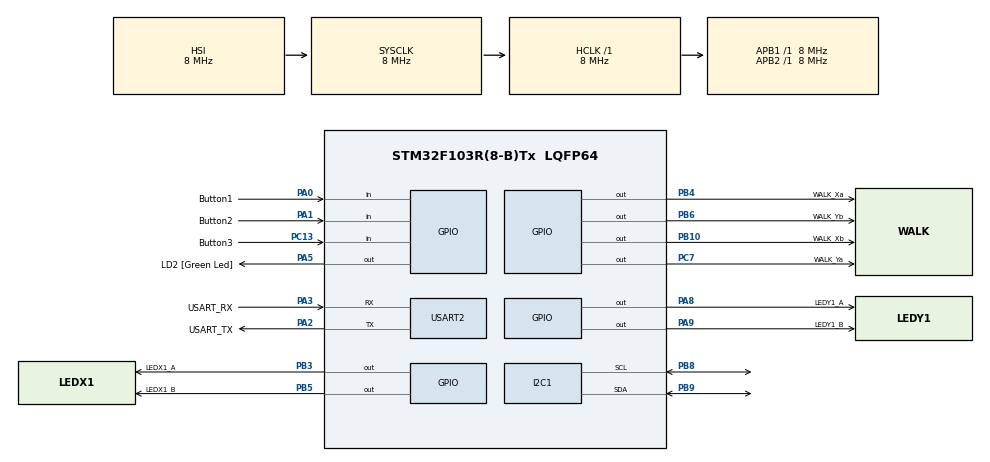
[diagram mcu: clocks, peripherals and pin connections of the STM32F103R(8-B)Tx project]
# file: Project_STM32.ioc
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Mcu.Family=STM32F1
Mcu.Name=STM32F103R(8-B)Tx
Mcu.Package=LQFP64
NVIC.PriorityGroup=NVIC_PRIORITYGROUP_4
NVIC.TIM2_IRQn=true\:0\:0\:false\:false\:true\:true\:true
PA0-WKUP.GPIO_Label=Button1
PA0-WKUP.GPIO_PuPd=GPIO_PULLUP
PA0-WKUP.Signal=GPIO_Input
PA1.GPIO_Label=Button2
PA1.GPIO_PuPd=GPIO_PULLUP
PA1.Signal=GPIO_Input
PA13.GPIO_Label=TMS
PA13.Mode=Serial_Wire
PA13.Signal=SYS_JTMS-SWDIO
PA14.GPIO_Label=TCK
PA14.Mode=Serial_Wire
PA14.Signal=SYS_JTCK-SWCLK
PA2.GPIO_Label=USART_TX
PA2.GPIO_Mode=GPIO_MODE_AF_PP
PA2.GPIO_PuPd=GPIO_NOPULL
PA2.GPIO_Speed=GPIO_SPEED_FREQ_LOW
PA2.Mode=Asynchronous
PA2.Signal=USART2_TX
PA3.GPIO_Label=USART_RX
PA3.GPIO_Mode=GPIO_MODE_AF_PP
PA3.GPIO_PuPd=GPIO_NOPULL
PA3.GPIO_Speed=GPIO_SPEED_FREQ_LOW
PA3.Mode=Asynchronous
PA3.Signal=USART2_RX
PA5.GPIO_Label=LD2 [Green Led]
PA5.GPIO_ModeDefaultOutputPP=GPIO_MODE_OUTPUT_PP
PA5.GPIO_PuPd=GPIO_NOPULL
PA5.GPIO_Speed=GPIO_SPEED_FREQ_LOW
PA5.Signal=GPIO_Output
PA8.GPIO_Label=LEDY1_A
PA8.Signal=GPIO_Output
PA9.GPIO_Label=LEDY1_B
PA9.Signal=GPIO_Output
PB10.GPIO_Label=WALK_Xb
PB10.Signal=GPIO_Output
PB3.GPIO_Label=LEDX1_A
PB3.Signal=GPIO_Output
PB4.GPIO_Label=WALK_Xa
PB4.Signal=GPIO_Output
PB5.GPIO_Label=LEDX1_B
PB5.Signal=GPIO_Output
PB6.GPIO_Label=WALK_Yb
PB6.Signal=GPIO_Output
PB8.Mode=I2C
PB8.Signal=I2C1_SCL
PB9.Mode=I2C
PB9.Signal=I2C1_SDA
PC13-TAMPER-RTC.GPIO_Label=Button3
PC13-TAMPER-RTC.Signal=GPIO_Input
PC14-OSC32_IN.Mode=LSE-External-Oscillator
PC14-OSC32_IN.Signal=RCC_OSC32_IN
PC15-OSC32_OUT.Mode=LSE-External-Oscillator
PC15-OSC32_OUT.Signal=RCC_OSC32_OUT
PC7.GPIO_Label=WALK_Ya
PC7.Signal=GPIO_Output
PD0-OSC_IN.Mode=HSE-External-Clock-Source
PD0-OSC_IN.Signal=RCC_OSC_IN
PD1-OSC_OUT.Mode=HSE-External-Clock-Source
PD1-OSC_OUT.Signal=RCC_OSC_OUT
ProjectManager.HeapSize=0x200
ProjectManager.StackSize=0x400
ProjectManager.TargetToolchain=STM32CubeIDE
RCC.AHBFreq_Value=8000000
RCC.APB1Freq_Value=8000000
RCC.APB1TimFreq_Value=8000000
RCC.APB2Freq_Value=8000000
RCC.APB2TimFreq_Value=8000000
RCC.HCLKFreq_Value=8000000
RCC.RTCClockSelection=RCC_RTCCLKSOURCE_LSE
RCC.SYSCLKFreq_VALUE=8000000
RCC.USBFreq_Value=8000000
TIM2.Period=9
TIM2.Prescaler=7999
USART2.VirtualMode=VM_ASYNC
VP_TIM2_VS_ClockSourceINT.Mode=Internal
board=NUCLEO-F103RB

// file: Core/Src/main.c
/* USER CODE BEGIN Header */
/**
  ******************************************************************************
  * @file           : main.c
  * @brief          : Main program body
  ******************************************************************************
  * @attention
  *
  * <h2><center>&copy; Copyright (c) 2024 STMicroelectronics.
  * All rights reserved.</center></h2>
  *
  * This software component is licensed by ST under BSD 3-Clause license,
  * the "License"; You may not use this file except in compliance with the
  * License. You may obtain a copy of the License at:
  *                        opensource.org/licenses/BSD-3-Clause
  *
  ******************************************************************************
  */
/* USER CODE END Header */
#include "main.h"

/* USER CODE BEGIN Includes */
#include "input_processing.h"
#include "fsm_automatic.h"
#include "timer.h"
#include "i2c-lcd.h"
#include "fsm_manual.h"
#include "fsm_manual_mode.h"
#include "Scheduler.h"
//#include "fsm_manual.h"
/* USER CODE END Includes */

I2C_HandleTypeDef hi2c1;

TIM_HandleTypeDef htim2;

UART_HandleTypeDef huart2;

void SystemClock_Config(void);
static void MX_GPIO_Init(void);
static void MX_USART2_UART_Init(void);
static void MX_TIM2_Init(void);
static void MX_I2C1_Init(void);

int main(void)
{

  /* MCU Configuration--------------------------------------------------------*/

  /* Reset of all peripherals, Initializes the Flash interface and the Systick. */
  HAL_Init();

  /* Configure the system clock */
  SystemClock_Config();

  /* Initialize all configured peripherals */
  MX_GPIO_Init();
  MX_USART2_UART_Init();
  MX_TIM2_Init();
  MX_I2C1_Init();
  /* USER CODE BEGIN 2 */
  HAL_TIM_Base_Start_IT(&htim2);
  lcd_init();
  SCH_Init();
  /* USER CODE END 2 */

  /* Infinite loop */
  /* USER CODE BEGIN WHILE */
  	statusx = INIT;
  	statusy = INIT;
  	counter_x = 0;
  	counter_y = 0;
  	counterMode = 1;
  	counterTimeSet = 0;
  	DisplayCounter = 0;
  	SCH_Add_Task(fsm_automatic_runx, 0, 10);
  	SCH_Add_Task(fsm_automatic_runy, 0, 10);
  	SCH_Add_Task(fsm_clock, 100, 100);
  	SCH_Add_Task(fsm_mode, 100, 100);
  	SCH_Add_Task(fsm_manual_run1, 10, 10);
  	SCH_Add_Task(fsm_manual_run2, 10, 10);
  	SCH_Add_Task(fsm_manual_run, 10, 10);
 	SCH_Add_Task(Walking_LED, 0, 25);
  	SCH_Add_Task(fsm_for_input_processing1, 10, 1);
  	SCH_Add_Task(fsm_for_input_processing2, 10, 1);
  	SCH_Add_Task(fsm_for_input_processing3, 10, 1);
  while (1)
  {
	  SCH_Dispatch_Tasks();
    /* USER CODE END WHILE */

  }
}

void SystemClock_Config(void)
{
  RCC_OscInitTypeDef RCC_OscInitStruct = {0};
  RCC_ClkInitTypeDef RCC_ClkInitStruct = {0};

  /** Initializes the RCC Oscillators according to the specified parameters
  * in the RCC_OscInitTypeDef structure.
  */
  RCC_OscInitStruct.OscillatorType = RCC_OSCILLATORTYPE_HSI;
  RCC_OscInitStruct.HSIState = RCC_HSI_ON;
  RCC_OscInitStruct.HSICalibrationValue = RCC_HSICALIBRATION_DEFAULT;
  RCC_OscInitStruct.PLL.PLLState = RCC_PLL_NONE;
  if (HAL_RCC_OscConfig(&RCC_OscInitStruct) != HAL_OK)
  {
    Error_Handler();
  }
  /** Initializes the CPU, AHB and APB buses clocks
  */
  RCC_ClkInitStruct.ClockType = RCC_CLOCKTYPE_HCLK|RCC_CLOCKTYPE_SYSCLK
                              |RCC_CLOCKTYPE_PCLK1|RCC_CLOCKTYPE_PCLK2;
  RCC_ClkInitStruct.SYSCLKSource = RCC_SYSCLKSOURCE_HSI;
  RCC_ClkInitStruct.AHBCLKDivider = RCC_SYSCLK_DIV1;
  RCC_ClkInitStruct.APB1CLKDivider = RCC_HCLK_DIV1;
  RCC_ClkInitStruct.APB2CLKDivider = RCC_HCLK_DIV1;

  if (HAL_RCC_ClockConfig(&RCC_ClkInitStruct, FLASH_LATENCY_0) != HAL_OK)
  {
    Error_Handler();
  }
}

static void MX_I2C1_Init(void)
{

  hi2c1.Instance = I2C1;
  hi2c1.Init.ClockSpeed = 100000;
  hi2c1.Init.DutyCycle = I2C_DUTYCYCLE_2;
  hi2c1.Init.OwnAddress1 = 0;
  hi2c1.Init.AddressingMode = I2C_ADDRESSINGMODE_7BIT;
  hi2c1.Init.DualAddressMode = I2C_DUALADDRESS_DISABLE;
  hi2c1.Init.OwnAddress2 = 0;
  hi2c1.Init.GeneralCallMode = I2C_GENERALCALL_DISABLE;
  hi2c1.Init.NoStretchMode = I2C_NOSTRETCH_DISABLE;
  if (HAL_I2C_Init(&hi2c1) != HAL_OK)
  {
    Error_Handler();
  }

}

static void MX_TIM2_Init(void)
{

  TIM_ClockConfigTypeDef sClockSourceConfig = {0};
  TIM_MasterConfigTypeDef sMasterConfig = {0};

  htim2.Instance = TIM2;
  htim2.Init.Prescaler = 7999;
  htim2.Init.CounterMode = TIM_COUNTERMODE_UP;
  htim2.Init.Period = 9;
  htim2.Init.ClockDivision = TIM_CLOCKDIVISION_DIV1;
  htim2.Init.AutoReloadPreload = TIM_AUTORELOAD_PRELOAD_DISABLE;
  if (HAL_TIM_Base_Init(&htim2) != HAL_OK)
  {
    Error_Handler();
  }
  sClockSourceConfig.ClockSource = TIM_CLOCKSOURCE_INTERNAL;
  if (HAL_TIM_ConfigClockSource(&htim2, &sClockSourceConfig) != HAL_OK)
  {
    Error_Handler();
  }
  sMasterConfig.MasterOutputTrigger = TIM_TRGO_RESET;
  sMasterConfig.MasterSlaveMode = TIM_MASTERSLAVEMODE_DISABLE;
  if (HAL_TIMEx_MasterConfigSynchronization(&htim2, &sMasterConfig) != HAL_OK)
  {
    Error_Handler();
  }

}

static void MX_USART2_UART_Init(void)
{

  huart2.Instance = USART2;
  huart2.Init.BaudRate = 115200;
  huart2.Init.WordLength = UART_WORDLENGTH_8B;
  huart2.Init.StopBits = UART_STOPBITS_1;
  huart2.Init.Parity = UART_PARITY_NONE;
  huart2.Init.Mode = UART_MODE_TX_RX;
  huart2.Init.HwFlowCtl = UART_HWCONTROL_NONE;
  huart2.Init.OverSampling = UART_OVERSAMPLING_16;
  if (HAL_UART_Init(&huart2) != HAL_OK)
  {
    Error_Handler();
  }

}

static void MX_GPIO_Init(void)
{
  GPIO_InitTypeDef GPIO_InitStruct = {0};

  /* GPIO Ports Clock Enable */
  __HAL_RCC_GPIOC_CLK_ENABLE();
  __HAL_RCC_GPIOD_CLK_ENABLE();
  __HAL_RCC_GPIOA_CLK_ENABLE();
  __HAL_RCC_GPIOB_CLK_ENABLE();

  /*Configure GPIO pin Output Level */
  HAL_GPIO_WritePin(GPIOA, LD2_Pin|LEDY1_A_Pin|LEDY1_B_Pin, GPIO_PIN_RESET);

  /*Configure GPIO pin Output Level */
  HAL_GPIO_WritePin(GPIOB, WALK_Xb_Pin|LEDX1_A_Pin|WALK_Xa_Pin|LEDX1_B_Pin
                          |WALK_Yb_Pin, GPIO_PIN_RESET);

  /*Configure GPIO pin Output Level */
  HAL_GPIO_WritePin(WALK_Ya_GPIO_Port, WALK_Ya_Pin, GPIO_PIN_RESET);

  /*Configure GPIO pin : Button3_Pin */
  GPIO_InitStruct.Pin = Button3_Pin;
  GPIO_InitStruct.Mode = GPIO_MODE_INPUT;
  GPIO_InitStruct.Pull = GPIO_NOPULL;
  HAL_GPIO_Init(Button3_GPIO_Port, &GPIO_InitStruct);

  /*Configure GPIO pins : Button1_Pin Button2_Pin */
  GPIO_InitStruct.Pin = Button1_Pin|Button2_Pin;
  GPIO_InitStruct.Mode = GPIO_MODE_INPUT;
  GPIO_InitStruct.Pull = GPIO_PULLUP;
  HAL_GPIO_Init(GPIOA, &GPIO_InitStruct);

  /*Configure GPIO pins : LD2_Pin LEDY1_A_Pin LEDY1_B_Pin */
  GPIO_InitStruct.Pin = LD2_Pin|LEDY1_A_Pin|LEDY1_B_Pin;
  GPIO_InitStruct.Mode = GPIO_MODE_OUTPUT_PP;
  GPIO_InitStruct.Pull = GPIO_NOPULL;
  GPIO_InitStruct.Speed = GPIO_SPEED_FREQ_LOW;
  HAL_GPIO_Init(GPIOA, &GPIO_InitStruct);

  /*Configure GPIO pins : WALK_Xb_Pin LEDX1_A_Pin WALK_Xa_Pin LEDX1_B_Pin
                           WALK_Yb_Pin */
  GPIO_InitStruct.Pin = WALK_Xb_Pin|LEDX1_A_Pin|WALK_Xa_Pin|LEDX1_B_Pin
                          |WALK_Yb_Pin;
  GPIO_InitStruct.Mode = GPIO_MODE_OUTPUT_PP;
  GPIO_InitStruct.Pull = GPIO_NOPULL;
  GPIO_InitStruct.Speed = GPIO_SPEED_FREQ_LOW;
  HAL_GPIO_Init(GPIOB, &GPIO_InitStruct);

  /*Configure GPIO pin : WALK_Ya_Pin */
  GPIO_InitStruct.Pin = WALK_Ya_Pin;
  GPIO_InitStruct.Mode = GPIO_MODE_OUTPUT_PP;
  GPIO_InitStruct.Pull = GPIO_NOPULL;
  GPIO_InitStruct.Speed = GPIO_SPEED_FREQ_LOW;
  HAL_GPIO_Init(WALK_Ya_GPIO_Port, &GPIO_InitStruct);

}

void Error_Handler(void)
{
  __disable_irq();
  while (1)
  {
  }
}

/************************ (C) COPYRIGHT STMicroelectronics *****END OF FILE****/
